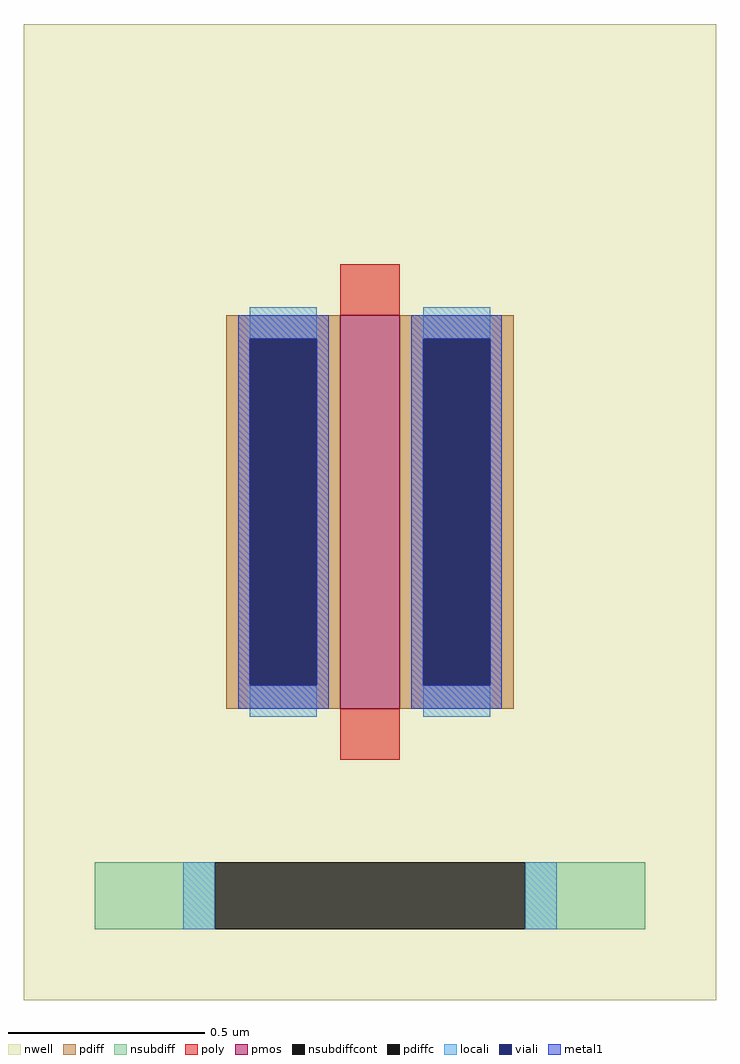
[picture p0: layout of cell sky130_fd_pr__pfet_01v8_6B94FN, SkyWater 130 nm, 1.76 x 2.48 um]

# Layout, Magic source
magic
tech sky130A
magscale 1 2
<< nwell >>
rect -176 -248 176 248
<< pmos >>
rect -15 -100 15 100
<< pdiff >>
rect -73 88 -15 100
rect -73 -88 -61 88
rect -27 -88 -15 88
rect -73 -100 -15 -88
rect 15 88 73 100
rect 15 -88 27 88
rect 61 -88 73 88
rect 15 -100 73 -88
<< pdiffc >>
rect -61 -88 -27 88
rect 27 -88 61 88
<< nsubdiff >>
rect -140 -212 -79 -178
rect 79 -212 140 -178
<< nsubdiffcont >>
rect -79 -212 79 -178
<< poly >>
rect -15 100 15 126
rect -15 -126 15 -100
<< locali >>
rect -61 88 -27 104
rect -61 -104 -27 -88
rect 27 88 61 104
rect 27 -104 61 -88
rect -95 -212 -79 -178
rect 79 -212 95 -178
<< viali >>
rect -61 -88 -27 88
rect 27 -88 61 88
<< metal1 >>
rect -67 88 -21 100
rect -67 -88 -61 88
rect -27 -88 -21 88
rect -67 -100 -21 -88
rect 21 88 67 100
rect 21 -88 27 88
rect 61 -88 67 88
rect 21 -100 67 -88
<< properties >>
string FIXED_BBOX -158 -195 158 195
string gencell sky130_fd_pr__pfet_01v8
string library sky130
string parameters w 1.0 l 0.15 m 1 nf 1 diffcov 100 polycov 100 guard 1 glc 0 grc 0 gtc 0 gbc 1 tbcov 100 rlcov 100 topc 0 botc 0 poverlap 0 doverlap 1 lmin 0.15 wmin 0.42 compatible {sky130_fd_pr__pfet_01v8  sky130_fd_pr__pfet_01v8_lvt sky130_fd_pr__pfet_01v8_hvt  sky130_fd_pr__pfet_g5v0d10v5} full_metal 0 viasrc 100 viadrn 100 viagate 100 viagb 0 viagr 0 viagl 0 viagt 0
<< end >>
